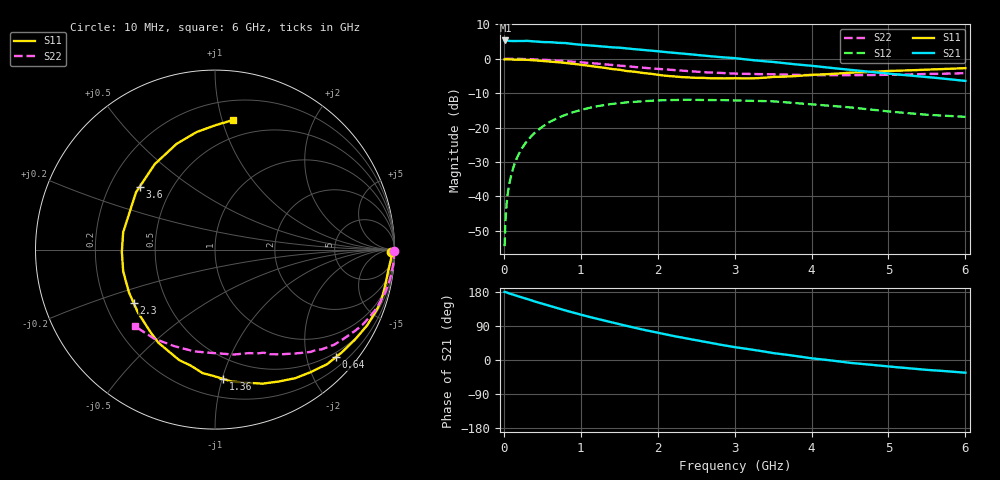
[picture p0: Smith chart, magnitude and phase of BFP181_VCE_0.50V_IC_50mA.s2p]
! Infineon Technologies  Discrete & RF Semiconductors
! BFP181
! VCE = 0.50V,  IC =  50 mA
! Common Emitter S-Parameters:  Jan 2016
# GHz  S  MA  R  50
!  f  S11  S21  S12  S22
! GHz  MAG  ANG  MAG  ANG  MAG  ANG  MAG  ANG
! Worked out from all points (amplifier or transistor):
!   210 points, 10 MHz to 6 GHz, reference 50 ohm
!   highest |S21| = 5.3 dB at 20 MHz (marker M1)
!   |S21| within 3 dB of that: start of sweep to 1.94 GHz
!   unconditionally stable (mu >= 1): 3.168 GHz to end of sweep
!   at 185 MHz: K = 0.07, MSG = 16.6 dB, |S12| = -28.1 dB
!   at 1.52 GHz: K = 0.55, MSG = 8.0 dB, |S12| = -12.9 dB
!   at 6 GHz: K = 1.72, MAG = 0.3 dB, |S12| = -16.9 dB
!   S11 on the Smith chart (normalised r, x): 10 MHz: 61, -44; 640 MHz: 0.40, -2.57; 1.36 GHz: 0.34, -1.01; 2.3 GHz: 0.32, -0.27; 3.6 GHz: 0.33, +0.33; 6 GHz: 0.35, +1.09
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0.01  0.9787 -0.9  1.834 179.7  0.0019 89.3  0.9997 -0.3
0.02  0.9834 -1.4  1.839 179.5  0.0042 91.9  0.9951 -0.6
0.04  0.9824 -2.5  1.828 177.7  0.0087 90.6  0.9971 -1.4
0.07  0.9776 -4.5  1.814 175.6  0.015 87.3  0.9981 -2.5
0.115  0.9713 -7.7  1.803 172.8  0.0244 84.0  0.9971 -4.0
0.17  0.969 -11.3  1.806 169.3  0.0363 81.7  0.994 -6.0
0.26  0.9668 -17.2  1.807 163.6  0.0552 77.5  0.9885 -9.2
0.36  0.9523 -23.7  1.792 157.4  0.0754 72.6  0.981 -12.6
0.64  0.9015 -41.7  1.724 140.1  0.1278 59.8  0.9472 -22.0
0.8  0.8667 -51.9  1.687 130.7  0.153 52.9  0.9228 -26.9
1.02  0.8111 -65.3  1.589 118.7  0.1824 43.6  0.8806 -33.3
1.36  0.7212 -86.5  1.477 101.4  0.2166 30.9  0.8207 -42.1
1.54  0.6787 -98.0  1.431 92.6  0.2282 25.4  0.7871 -45.8
2.02  0.5803 -128.9  1.275 71.2  0.2485 11.9  0.7103 -54.9
2.3  0.5418 -146.9  1.19 59.8  0.2526 4.3  0.6725 -60.2
2.68  0.5203 -171.4  1.087 45.5  0.2509 -3.7  0.6302 -66.1
3.1  0.5168 164.2  0.989 31.2  0.2461 -12.6  0.6036 -73.3
3.6  0.5466 140.1  0.872 15.8  0.2357 -20.5  0.5891 -81.9
4.1  0.5879 122.0  0.767 2.4  0.2138 -27.6  0.5757 -92.5
4.5  0.6267 110.0  0.691 -7.5  0.1964 -32.6  0.579 -101.6
5.1  0.6676 97.0  0.593 -18.9  0.1677 -35.3  0.5854 -115.3
6  0.729 82.0  0.476 -33.5  0.1432 -31.1  0.6173 -136.1
